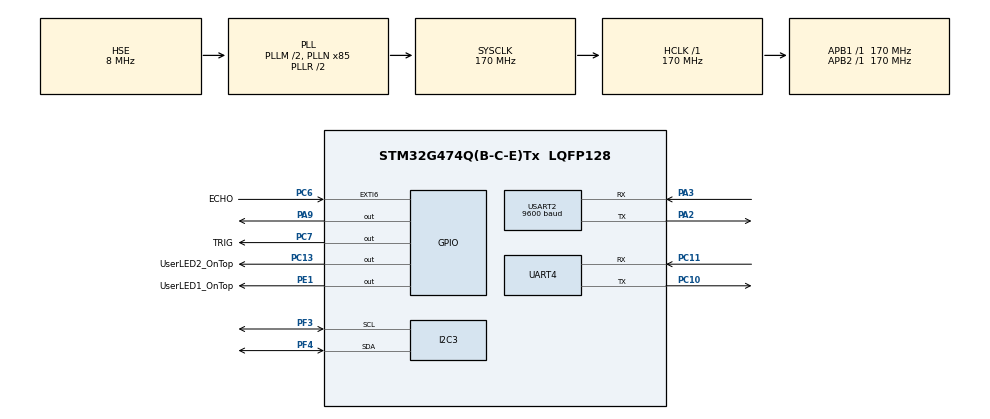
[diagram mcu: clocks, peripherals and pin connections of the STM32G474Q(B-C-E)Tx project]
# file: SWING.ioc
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Dma.Request0=UART4_RX
Dma.Request1=UART4_TX
Dma.Request2=USART2_TX
Dma.UART4_RX.0.Direction=DMA_PERIPH_TO_MEMORY
Dma.UART4_RX.0.EventEnable=DISABLE
Dma.UART4_RX.0.Instance=DMA1_Channel1
Dma.UART4_RX.0.MemDataAlignment=DMA_MDATAALIGN_BYTE
Dma.UART4_RX.0.MemInc=DMA_MINC_ENABLE
Dma.UART4_RX.0.Mode=DMA_CIRCULAR
Dma.UART4_RX.0.PeriphDataAlignment=DMA_PDATAALIGN_BYTE
Dma.UART4_RX.0.PeriphInc=DMA_PINC_DISABLE
Dma.UART4_RX.0.Polarity=HAL_DMAMUX_REQ_GEN_RISING
Dma.UART4_RX.0.Priority=DMA_PRIORITY_LOW
Dma.UART4_RX.0.RequestNumber=1
Dma.UART4_RX.0.SignalID=NONE
Dma.UART4_RX.0.SyncEnable=DISABLE
Dma.UART4_RX.0.SyncPolarity=HAL_DMAMUX_SYNC_NO_EVENT
Dma.UART4_RX.0.SyncRequestNumber=1
Dma.UART4_RX.0.SyncSignalID=NONE
Dma.UART4_TX.1.Direction=DMA_MEMORY_TO_PERIPH
Dma.UART4_TX.1.EventEnable=DISABLE
Dma.UART4_TX.1.Instance=DMA1_Channel2
Dma.UART4_TX.1.MemDataAlignment=DMA_MDATAALIGN_BYTE
Dma.UART4_TX.1.MemInc=DMA_MINC_ENABLE
Dma.UART4_TX.1.Mode=DMA_NORMAL
Dma.UART4_TX.1.PeriphDataAlignment=DMA_PDATAALIGN_BYTE
Dma.UART4_TX.1.PeriphInc=DMA_PINC_DISABLE
Dma.UART4_TX.1.Polarity=HAL_DMAMUX_REQ_GEN_RISING
Dma.UART4_TX.1.Priority=DMA_PRIORITY_LOW
Dma.UART4_TX.1.RequestNumber=1
Dma.UART4_TX.1.SignalID=NONE
Dma.UART4_TX.1.SyncEnable=DISABLE
Dma.UART4_TX.1.SyncPolarity=HAL_DMAMUX_SYNC_NO_EVENT
Dma.UART4_TX.1.SyncRequestNumber=1
Dma.UART4_TX.1.SyncSignalID=NONE
Dma.USART2_TX.2.Direction=DMA_MEMORY_TO_PERIPH
Dma.USART2_TX.2.EventEnable=DISABLE
Dma.USART2_TX.2.Instance=DMA1_Channel3
Dma.USART2_TX.2.MemDataAlignment=DMA_MDATAALIGN_BYTE
Dma.USART2_TX.2.MemInc=DMA_MINC_ENABLE
Dma.USART2_TX.2.Mode=DMA_NORMAL
Dma.USART2_TX.2.PeriphDataAlignment=DMA_PDATAALIGN_BYTE
Dma.USART2_TX.2.PeriphInc=DMA_PINC_DISABLE
Dma.USART2_TX.2.Polarity=HAL_DMAMUX_REQ_GEN_RISING
Dma.USART2_TX.2.Priority=DMA_PRIORITY_LOW
Dma.USART2_TX.2.RequestNumber=1
Dma.USART2_TX.2.SignalID=NONE
Dma.USART2_TX.2.SyncEnable=DISABLE
Dma.USART2_TX.2.SyncPolarity=HAL_DMAMUX_SYNC_NO_EVENT
Dma.USART2_TX.2.SyncRequestNumber=1
Dma.USART2_TX.2.SyncSignalID=NONE
I2C3.Timing=0x40B285C2
Mcu.Family=STM32G4
Mcu.Name=STM32G474Q(B-C-E)Tx
Mcu.Package=LQFP128
NVIC.DMA1_Channel1_IRQn=true\:0\:0\:false\:false\:true\:false\:true\:true
NVIC.DMA1_Channel2_IRQn=true\:0\:0\:false\:false\:true\:false\:true\:true
NVIC.DMA1_Channel3_IRQn=true\:0\:0\:false\:false\:true\:false\:true\:true
NVIC.EXTI9_5_IRQn=true\:0\:0\:false\:false\:true\:true\:true\:true
NVIC.I2C3_EV_IRQn=true\:0\:0\:false\:false\:true\:true\:true\:true
NVIC.PriorityGroup=NVIC_PRIORITYGROUP_4
NVIC.TIM2_IRQn=true\:0\:0\:false\:false\:true\:true\:true\:true
NVIC.TIM4_IRQn=true\:0\:0\:false\:false\:true\:true\:true\:true
NVIC.UART4_IRQn=true\:2\:0\:true\:false\:true\:true\:true\:true
NVIC.USART2_IRQn=true\:0\:0\:true\:false\:true\:true\:true\:true
PA13.Mode=Serial_Wire
PA13.Signal=SYS_JTMS-SWDIO
PA14.Mode=Serial_Wire
PA14.Signal=SYS_JTCK-SWCLK
PA2.Mode=Asynchronous
PA2.Signal=USART2_TX
PA3.Mode=Asynchronous
PA3.Signal=USART2_RX
PA9.Signal=GPIO_Output
PC10.Mode=Asynchronous
PC10.Signal=UART4_TX
PC11.Mode=Asynchronous
PC11.Signal=UART4_RX
PC13.GPIO_Label=UserLED2_OnTop
PC13.Signal=GPIO_Output
PC14-OSC32_IN.Mode=LSE-External-Oscillator
PC14-OSC32_IN.Signal=RCC_OSC32_IN
PC15-OSC32_OUT.Mode=LSE-External-Oscillator
PC15-OSC32_OUT.Signal=RCC_OSC32_OUT
PC6.GPIO_Label=ECHO
PC6.Signal=GPXTI6
PC7.GPIO_Label=TRIG
PC7.Signal=GPIO_Output
PE1.GPIO_Label=UserLED1_OnTop
PE1.Signal=GPIO_Output
PF0-OSC_IN.Mode=HSE-External-Oscillator
PF0-OSC_IN.Signal=RCC_OSC_IN
PF1-OSC_OUT.Mode=HSE-External-Oscillator
PF1-OSC_OUT.Signal=RCC_OSC_OUT
PF3.GPIO_Pu=GPIO_NOPULL
PF3.Mode=I2C
PF3.Signal=I2C3_SCL
PF4.GPIO_Pu=GPIO_NOPULL
PF4.Mode=I2C
PF4.Signal=I2C3_SDA
ProjectManager.HeapSize=0x200
ProjectManager.StackSize=0x400
ProjectManager.TargetToolchain=MDK-ARM V5.32
RCC.ADC12Freq_Value=170000000
RCC.ADC345Freq_Value=170000000
RCC.AHBFreq_Value=170000000
RCC.APB1Freq_Value=170000000
RCC.APB1TimFreq_Value=170000000
RCC.APB2Freq_Value=170000000
RCC.APB2TimFreq_Value=170000000
RCC.CortexFreq_Value=170000000
RCC.EXTERNAL_CLOCK_VALUE=12288000
RCC.HCLKFreq_Value=170000000
RCC.HSE_VALUE=8000000
RCC.HSI48_VALUE=48000000
RCC.HSI_VALUE=16000000
RCC.PLLM=RCC_PLLM_DIV2
RCC.PLLN=85
RCC.PLLSourceVirtual=RCC_PLLSOURCE_HSE
RCC.RTCClockSelection=RCC_RTCCLKSOURCE_LSE
RCC.SYSCLKFreq_VALUE=170000000
RCC.SYSCLKSource=RCC_SYSCLKSOURCE_PLLCLK
RCC.USBFreq_Value=170000000
RCC.VCOOutputFreq_Value=340000000
TIM15.Prescaler=170-1
TIM2.PeriodNoDither=1000-1
TIM2.Prescaler=170-1
TIM4.PeriodNoDither=1000-1
TIM4.Prescaler=170-1
USART2.BaudRate=9600
USART2.VirtualMode-Asynchronous=VM_ASYNC
VP_RTC_VS_RTC_Activate.Mode=RTC_Enabled
VP_SYS_VS_DBSignals.Mode=DisableDeadBatterySignals
VP_TIM15_VS_ClockSourceINT.Mode=Internal
VP_TIM2_VS_ClockSourceINT.Mode=Internal
VP_TIM4_VS_ClockSourceINT.Mode=Internal
board=custom

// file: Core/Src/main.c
/* USER CODE BEGIN Header */
/**
 ******************************************************************************
 * @file           : main.c
 * @brief          : Main program body
 ******************************************************************************
 * @attention
 *
 * Copyright (c) 2025 STMicroelectronics.
 * All rights reserved.
 *
 * This software is licensed under terms that can be found in the LICENSE file
 * in the root directory of this software component.
 * If no LICENSE file comes with this software, it is provided AS-IS.
 *
 ******************************************************************************
 */
/* USER CODE END Header */
#include "main.h"
#include "dma.h"
#include "i2c.h"
#include "rtc.h"
#include "tim.h"
#include "usart.h"
#include "gpio.h"

/* USER CODE BEGIN Includes */
#include "jy901.h"
#include "delay.h"
#include "usart.h"
#include "stdio.h"
#include "string.h"
#include "JY901S_REG.h"
#include "math.h"
#include "stdlib.h"
#include "math_tool.h"
#include "Laser-L1.h"
#include "Laser-L1_DMA.h"
#include "arm_math.h"
#include "arm_const_structs.h"

/* USER CODE END Includes */

/* USER CODE BEGIN PD */
extern int distance; // 距离mm
double lenth;
double period;                    // 计算单摆周期
double angle;                     // 计算倾角
#define COUNT_THRESHOLD 30        // 易拉罐计数-波谷计数阈值（计数突变点）
extern int distance;              // 距离mm
uint8_t count = 0;                // 易拉罐计数
uint32_t Laser_Distance = 0;      // 易拉罐到板子距离(实时更新)
uint32_t Last_Laser_Distance = 0; // 上次激光测距值
float L_distance = 0;             // 激光测距值
float H_distance = 0;             // 激光测距值
double angle_sum;
int i;
int command; // 蓝牙接收命令

/* USER CODE END PD */

void SystemClock_Config(void);

int main(void)
{

    /* MCU Configuration--------------------------------------------------------*/

    /* Reset of all peripherals, Initializes the Flash interface and the Systick. */
    HAL_Init();

    /* Configure the system clock */
    SystemClock_Config();

    /* Initialize all configured peripherals */
    MX_GPIO_Init();
    MX_DMA_Init();
    MX_I2C3_Init();
    MX_TIM2_Init();
    MX_USART2_UART_Init();
    MX_TIM4_Init();
    MX_TIM15_Init();
    MX_UART4_Init();
    MX_RTC_Init();
    /* USER CODE BEGIN 2 */
    int last_GyroData = 0;
    HAL_UART_Receive_IT(&huart2, (uint8_t *)&command, 1); // 蓝牙接收命令
    Uart_printf(&huart2, "开机启动\r\n");
    Laser_Init(FastMeasareMode);                             // 激光测距初始化
    jy901_zeroXY();                                          // 零点校准----------
    volatile float distance_beginning = Laser_GetDistance(); // 获取激光初始时刻测距值
    volatile float minimum_distance;                         // 激光测距最小值(初始化为1000，用于比较)
    float constant_L_distance = 0;                           // 首次测量的L_distance

    delay_us(1000); // 延时1ms
    // 148.61mm

    volatile float B = 0; // 激光测距角度
                          /* USER CODE END 2 */

    /* Infinite loop */
    /* USER CODE BEGIN WHILE */
    while (1)
    {
        // HAL_UART_Receive_IT(&huart2, (uint8_t *)&command, 1); // 蓝牙接收命令

        // 激光测距
        Last_Laser_Distance = Laser_Distance; // 保存上次激光测距值
        Laser_Distance = Laser_GetDistance(); // 获取激光测距值
        if (Laser_Distance < minimum_distance)
        {
            minimum_distance = Laser_Distance; // 更新最小值
        }
        if (Last_Laser_Distance - COUNT_THRESHOLD > Laser_Distance)
        {
            count++; // 易拉罐计数
        }

        jy901_dire_read();
        // y轴角度为0附近判断为最低点
        /*-----------------------------------------------------------------------------------------*/
        if (AngleData.x_Roll < 5 && AngleData.x_Roll > -5)
        {
            // 点亮LED
            HAL_GPIO_WritePin(UserLED1_OnTop_GPIO_Port, UserLED1_OnTop_Pin, GPIO_PIN_SET); // 点亮LED

            delay_us(10);                                                  // 延迟消抖
            L_distance = Laser_Distance + lenth + 148.61;                  // 获取激光测距值
            constant_L_distance = distance_beginning + lenth + 148.61;     // 获取激光测距值
                                                                           /*distance更改为distance_beginning，使之为定值*/
            lenth = (723 - 148.61 - 12.9 + 10 - Laser_Distance) / 1000.0f; // 单摆长度
            // 723mm为激光测距到激光发射器的距离
            // 148.61mm为罐子底部到激光发射器的距离
            // 12.9mm为底板
            if (lenth < 0)
            {
                lenth = 0;
            }
            period = calculate_T(lenth) + 0.1; // 计算单摆周期

            // angle = calculate_a_planB(L_distance); // 计算倾角
            // angle = degree(angle) + 1;             // 弧度转角度
            //                                        // 发送角度
            // // 滤除小于10和大于20的角度
            // if (angle > 10 && angle < 20)
            // {

            //     angle_sum += angle; // 累加角度
            //     i++;
            //     if (i > 3)
            //     {
            //         angle = angle_sum / 4; // 平均角度
            //         i = 0;
            //         Uart_printf(&huart2, "Angle:%f\r\n", angle);
            //         angle_sum = 0;   // 清零
            //         angle = 0;       // 清零
            //         HAL_Delay(1000); // 延时100ms
            //     }
            // }

            // 发送绳长
            // Uart_printf(&huart2, "Lenth:%f\r\n", lenth);
            delay_us(50); // 延迟消抖
        }
        else
        {
            // 关闭LED
            HAL_GPIO_WritePin(UserLED1_OnTop_GPIO_Port, UserLED1_OnTop_Pin, GPIO_PIN_RESET); // 关闭LED
        }
        /*----------------------------------------------------------------------------------------------*/

        // y轴角速度正负变换判断为到最高点
        if (GyroData.x > 0 && last_GyroData < 0)
        {
            // 点亮LED
            if (AngleData.x_Roll < 0)
            {
                H_distance = Laser_Distance + lenth + 148.61;
                B = AngleData.x_Roll; // 激光测距角度是负的
            } // 获取激光测距值
            HAL_GPIO_WritePin(UserLED2_OnTop_GPIO_Port, UserLED2_OnTop_Pin, GPIO_PIN_SET); // 点亮LED
            delay_us(10);                                                                  // 延迟消抖
            // Uart_printf(&huart2, "Period:%f\r\n", period);
            // Uart_printf(&huart2, "Angle:%f\r\n", angle);
        }
        else if (GyroData.x < 0 && last_GyroData > 0)
        {
            // 点亮LED
            HAL_GPIO_WritePin(UserLED2_OnTop_GPIO_Port, UserLED2_OnTop_Pin, GPIO_PIN_SET); // 点亮LED
            delay_us(10);                                                                  // 延迟消抖
            // Uart_printf(&huart2, "Period:%f\r\n", period);
            // Uart_printf(&huart2, "Angle:%f\r\n", angle);
            angle = acos(minimum_distance / distance_beginning); // 计算角度
            angle = degree(angle);                               // 弧度转角度
            // 发送角度
            // Uart_printf(&huart2, "Angle:%f\r\n", angle);
            minimum_distance = 1000;
        }
        else
        {
            // 关闭LED
            HAL_GPIO_WritePin(UserLED2_OnTop_GPIO_Port, UserLED2_OnTop_Pin, GPIO_PIN_RESET); // 关闭LED
        }
        last_GyroData = GyroData.x;
        HAL_Delay(150);
        /*-------------------------------------------------------------------------------------------------*/
        // // 发送角度
        // angle = LIMIT(angle, 10.5, 19.5); // 限制角度范围
        // angle_sum += angle;               // 累加角度
        // i++;

        // if (i > 10)
        // {
        //     angle = angle_sum / 10; // 平均角度
        //     i = 0;
        //     Uart_printf(&huart2, "Angle:%f\r\n", angle);
        //     angle_sum = 0; // 清零
        //     angle = 0;     // 清零
        // }

        /*-----------------------------------------------------------------------------------------------*/

        // if (GyroData.z < 10 && GyroData.z > -10)
        // {
        //     // 点亮LED
        //     HAL_GPIO_WritePin(UserLED2_OnTop_GPIO_Port, UserLED2_OnTop_Pin, SET); // 点亮LED
        //     Uart_printf(&huart2, "HIGH\r\n");
        //     HAL_Delay(10); // 延迟消抖
        // }
        // else
        // {
        //     // 关闭LED
        //     HAL_GPIO_WritePin(UserLED2_OnTop_GPIO_Port, UserLED2_OnTop_Pin, RESET); // 关闭LED
        //     Uart_printf(&huart2, "Gyr:%f\r\n", GyroData.z);
        // }

        // y轴角速度正负变换判断为到最高点

        /* USER CODE END WHILE */

    }
}

void SystemClock_Config(void)
{
    RCC_OscInitTypeDef RCC_OscInitStruct = {0};
    RCC_ClkInitTypeDef RCC_ClkInitStruct = {0};

    /** Configure the main internal regulator output voltage
     */
    HAL_PWREx_ControlVoltageScaling(PWR_REGULATOR_VOLTAGE_SCALE1_BOOST);

    /** Configure LSE Drive Capability
     */
    HAL_PWR_EnableBkUpAccess();
    __HAL_RCC_LSEDRIVE_CONFIG(RCC_LSEDRIVE_LOW);

    /** Initializes the RCC Oscillators according to the specified parameters
     * in the RCC_OscInitTypeDef structure.
     */
    RCC_OscInitStruct.OscillatorType = RCC_OSCILLATORTYPE_HSE | RCC_OSCILLATORTYPE_LSE;
    RCC_OscInitStruct.HSEState = RCC_HSE_ON;
    RCC_OscInitStruct.LSEState = RCC_LSE_ON;
    RCC_OscInitStruct.PLL.PLLState = RCC_PLL_ON;
    RCC_OscInitStruct.PLL.PLLSource = RCC_PLLSOURCE_HSE;
    RCC_OscInitStruct.PLL.PLLM = RCC_PLLM_DIV2;
    RCC_OscInitStruct.PLL.PLLN = 85;
    RCC_OscInitStruct.PLL.PLLP = RCC_PLLP_DIV2;
    RCC_OscInitStruct.PLL.PLLQ = RCC_PLLQ_DIV2;
    RCC_OscInitStruct.PLL.PLLR = RCC_PLLR_DIV2;
    if (HAL_RCC_OscConfig(&RCC_OscInitStruct) != HAL_OK)
    {
        Error_Handler();
    }

    /** Initializes the CPU, AHB and APB buses clocks
     */
    RCC_ClkInitStruct.ClockType = RCC_CLOCKTYPE_HCLK | RCC_CLOCKTYPE_SYSCLK | RCC_CLOCKTYPE_PCLK1 | RCC_CLOCKTYPE_PCLK2;
    RCC_ClkInitStruct.SYSCLKSource = RCC_SYSCLKSOURCE_PLLCLK;
    RCC_ClkInitStruct.AHBCLKDivider = RCC_SYSCLK_DIV1;
    RCC_ClkInitStruct.APB1CLKDivider = RCC_HCLK_DIV1;
    RCC_ClkInitStruct.APB2CLKDivider = RCC_HCLK_DIV1;

    if (HAL_RCC_ClockConfig(&RCC_ClkInitStruct, FLASH_LATENCY_4) != HAL_OK)
    {
        Error_Handler();
    }
}

void Error_Handler(void)
{
    __disable_irq();
    while (1)
    {
    }
}
